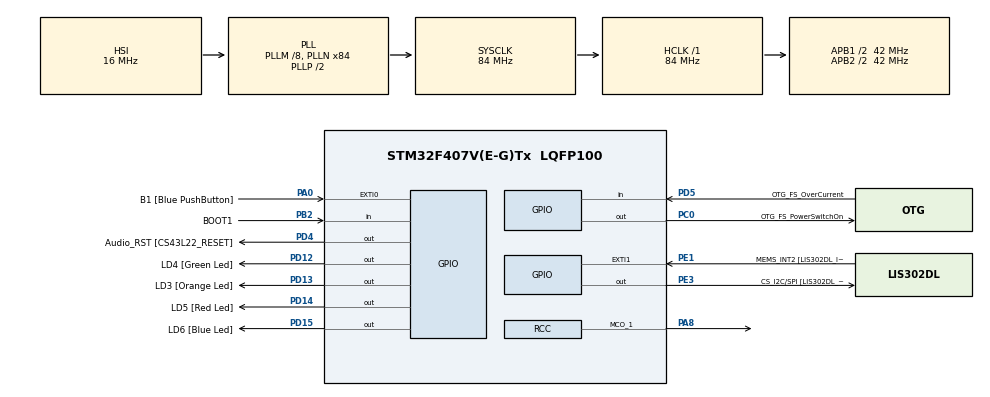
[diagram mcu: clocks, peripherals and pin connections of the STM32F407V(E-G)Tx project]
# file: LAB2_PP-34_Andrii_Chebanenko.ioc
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Mcu.Family=STM32F4
Mcu.Name=STM32F407V(E-G)Tx
Mcu.Package=LQFP100
NVIC.EXTI0_IRQn=true\:0\:0\:false\:false\:true\:true\:true\:true
NVIC.PriorityGroup=NVIC_PRIORITYGROUP_0
NVIC.TIM2_IRQn=true\:0\:0\:false\:false\:true\:true\:true\:true
PA0-WKUP.GPIO_Label=B1 [Blue PushButton]
PA0-WKUP.Signal=GPXTI0
PA10.GPIO_Label=OTG_FS_ID
PA10.GPIO_Mode=GPIO_MODE_AF_PP
PA10.GPIO_PuPd=GPIO_NOPULL
PA10.GPIO_Speed=GPIO_SPEED_FREQ_LOW
PA10.Signal=USB_OTG_FS_ID
PA11.GPIO_Label=OTG_FS_DM
PA11.GPIO_Mode=GPIO_MODE_AF_PP
PA11.GPIO_PuPd=GPIO_NOPULL
PA11.GPIO_Speed=GPIO_SPEED_FREQ_LOW
PA11.Signal=USB_OTG_FS_DM
PA12.GPIO_Label=OTG_FS_DP
PA12.GPIO_Mode=GPIO_MODE_AF_PP
PA12.GPIO_PuPd=GPIO_NOPULL
PA12.GPIO_Speed=GPIO_SPEED_FREQ_LOW
PA12.Signal=USB_OTG_FS_DP
PA13.GPIO_Label=SWDIO
PA13.Mode=Serial_Wire
PA13.Signal=SYS_JTMS-SWDIO
PA14.GPIO_Label=SWCLK
PA14.Mode=Serial_Wire
PA14.Signal=SYS_JTCK-SWCLK
PA4.GPIO_Label=I2S3_WS [CS43L22_LRCK]
PA4.GPIO_Mode=GPIO_MODE_AF_PP
PA4.GPIO_PuPd=GPIO_NOPULL
PA4.GPIO_Speed=GPIO_SPEED_FREQ_LOW
PA4.Signal=I2S3_WS
PA5.GPIO_Label=SPI1_SCK [LIS302DL_SCL/SPC]
PA5.GPIO_Mode=GPIO_MODE_AF_PP
PA5.GPIO_PuPd=GPIO_NOPULL
PA5.GPIO_Speed=GPIO_SPEED_FREQ_LOW
PA5.Signal=SPI1_SCK
PA6.GPIO_Label=SPI1_MISO [LIS302DL_SDO]
PA6.GPIO_Mode=GPIO_MODE_AF_PP
PA6.GPIO_PuPd=GPIO_NOPULL
PA6.GPIO_Speed=GPIO_SPEED_FREQ_LOW
PA6.Signal=SPI1_MISO
PA7.GPIO_Label=SPI1_MOSI [LIS302DL_SDA/SDI/SDO]
PA7.GPIO_Mode=GPIO_MODE_AF_PP
PA7.GPIO_PuPd=GPIO_NOPULL
PA7.GPIO_Speed=GPIO_SPEED_FREQ_LOW
PA7.Signal=SPI1_MOSI
PA8.Mode=Clock-out-1
PA8.Signal=RCC_MCO_1
PA9.GPIO_Label=VBUS_FS
PA9.GPIO_Mode=GPIO_MODE_INPUT
PA9.GPIO_PuPd=GPIO_NOPULL
PA9.Signal=USB_OTG_FS_VBUS
PB10.GPIO_Label=CLK_IN [MP45DT02_CLK]
PB10.GPIO_Mode=GPIO_MODE_AF_PP
PB10.GPIO_PuPd=GPIO_NOPULL
PB10.GPIO_Speed=GPIO_SPEED_FREQ_LOW
PB10.Signal=I2S2_CK
PB2.GPIO_Label=BOOT1
PB2.GPIO_Mode=GPIO_MODE_INPUT
PB2.GPIO_PuPd=GPIO_NOPULL
PB2.Signal=GPIO_Input
PB3.GPIO_Label=SWO
PB3.Signal=SYS_JTDO-SWO
PB6.GPIO_Label=Audio_SCL [CS43L22_SCL]
PB6.GPIO_Mode=GPIO_MODE_AF_OD
PB6.GPIO_PuPd=GPIO_NOPULL
PB6.GPIO_Speed=GPIO_SPEED_FREQ_LOW
PB6.Signal=I2C1_SCL
PB9.GPIO_Label=Audio_SDA [CS43L22_SDA]
PB9.GPIO_Mode=GPIO_MODE_AF_OD
PB9.GPIO_PuPd=GPIO_NOPULL
PB9.GPIO_Speed=GPIO_SPEED_FREQ_LOW
PB9.Signal=I2C1_SDA
PC0.GPIO_Label=OTG_FS_PowerSwitchOn
PC0.GPIO_PuPd=GPIO_NOPULL
PC0.GPIO_Speed=GPIO_SPEED_FREQ_LOW
PC0.PinState=GPIO_PIN_SET
PC0.Signal=GPIO_Output
PC10.GPIO_Label=I2S3_SCK [CS43L22_SCLK]
PC10.GPIO_Mode=GPIO_MODE_AF_PP
PC10.GPIO_PuPd=GPIO_NOPULL
PC10.GPIO_Speed=GPIO_SPEED_FREQ_LOW
PC10.Signal=I2S3_CK
PC12.GPIO_Label=I2S3_SD [CS43L22_SDIN]
PC12.GPIO_Mode=GPIO_MODE_AF_PP
PC12.GPIO_PuPd=GPIO_NOPULL
PC12.GPIO_Speed=GPIO_SPEED_FREQ_LOW
PC12.Signal=I2S3_SD
PC14-OSC32_IN.GPIO_Label=PC14-OSC32_IN
PC14-OSC32_IN.Signal=RCC_OSC32_IN
PC15-OSC32_OUT.GPIO_Label=PC15-OSC32_OUT
PC15-OSC32_OUT.Signal=RCC_OSC32_OUT
PC3.GPIO_Label=PDM_OUT [MP45DT02_DOUT]
PC3.GPIO_Mode=GPIO_MODE_AF_PP
PC3.GPIO_PuPd=GPIO_NOPULL
PC3.GPIO_Speed=GPIO_SPEED_FREQ_LOW
PC3.Signal=I2S2_SD
PC7.GPIO_Label=I2S3_MCK [CS43L22_MCLK]
PC7.GPIO_Mode=GPIO_MODE_AF_PP
PC7.GPIO_PuPd=GPIO_NOPULL
PC7.GPIO_Speed=GPIO_SPEED_FREQ_LOW
PC7.Signal=I2S3_MCK
PD12.GPIO_Label=LD4 [Green Led]
PD12.GPIO_PuPd=GPIO_NOPULL
PD12.GPIO_Speed=GPIO_SPEED_FREQ_LOW
PD12.Signal=GPIO_Output
PD13.GPIO_Label=LD3 [Orange Led]
PD13.GPIO_PuPd=GPIO_NOPULL
PD13.GPIO_Speed=GPIO_SPEED_FREQ_LOW
PD13.Signal=GPIO_Output
PD14.GPIO_Label=LD5 [Red Led]
PD14.GPIO_PuPd=GPIO_NOPULL
PD14.GPIO_Speed=GPIO_SPEED_FREQ_LOW
PD14.Signal=GPIO_Output
PD15.GPIO_Label=LD6 [Blue Led]
PD15.GPIO_PuPd=GPIO_NOPULL
PD15.GPIO_Speed=GPIO_SPEED_FREQ_LOW
PD15.Signal=GPIO_Output
PD4.GPIO_Label=Audio_RST [CS43L22_RESET]
PD4.GPIO_PuPd=GPIO_NOPULL
PD4.GPIO_Speed=GPIO_SPEED_FREQ_LOW
PD4.Signal=GPIO_Output
PD5.GPIO_Label=OTG_FS_OverCurrent
PD5.GPIO_Mode=GPIO_MODE_INPUT
PD5.GPIO_PuPd=GPIO_NOPULL
PD5.Signal=GPIO_Input
PE1.GPIO_Label=MEMS_INT2 [LIS302DL_INT2]
PE1.GPIO_ModeDefaultEXTI=GPIO_MODE_EVT_RISING
PE1.GPIO_PuPd=GPIO_NOPULL
PE1.Signal=GPXTI1
PE3.GPIO_Label=CS_I2C/SPI [LIS302DL_CS_I2C/SPI]
PE3.GPIO_PuPd=GPIO_NOPULL
PE3.GPIO_Speed=GPIO_SPEED_FREQ_LOW
PE3.Signal=GPIO_Output
PH0-OSC_IN.GPIO_Label=PH0-OSC_IN
PH0-OSC_IN.Signal=RCC_OSC_IN
PH1-OSC_OUT.GPIO_Label=PH1-OSC_OUT
PH1-OSC_OUT.Signal=RCC_OSC_OUT
ProjectManager.HeapSize=0x200
ProjectManager.StackSize=0x400
ProjectManager.TargetToolchain=STM32CubeIDE
RCC.48MHZClocksFreq_Value=24000000
RCC.AHBFreq_Value=84000000
RCC.APB1CLKDivider=RCC_HCLK_DIV2
RCC.APB1Freq_Value=42000000
RCC.APB1TimFreq_Value=84000000
RCC.APB2CLKDivider=RCC_HCLK_DIV2
RCC.APB2Freq_Value=42000000
RCC.APB2TimFreq_Value=84000000
RCC.CortexFreq_Value=84000000
RCC.HCLKFreq_Value=84000000
RCC.HSE_VALUE=8000000
RCC.HSI_VALUE=16000000
RCC.LSE_VALUE=32768
RCC.PLLM=8
RCC.PLLN=84
RCC.PLLQ=7
RCC.SYSCLKFreq_VALUE=84000000
RCC.SYSCLKSource=RCC_SYSCLKSOURCE_PLLCLK
RCC.VCOOutputFreq_Value=168000000
TIM2.Period=1250-1
TIM2.Prescaler=8400-1
VP_TIM2_VS_ClockSourceINT.Mode=Internal
board=STM32F407G-DISC1

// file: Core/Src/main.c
/* USER CODE BEGIN Header */
/**
  ******************************************************************************
  * @file           : main.c
  * @brief          : Main program body
  ******************************************************************************
  * @attention
  *
  * Copyright (c) 2024 STMicroelectronics.
  * All rights reserved.
  *
  * This software is licensed under terms that can be found in the LICENSE file
  * in the root directory of this software component.
  * If no LICENSE file comes with this software, it is provided AS-IS.
  *
  ******************************************************************************
  */
/* USER CODE END Header */
#include "main.h"

TIM_HandleTypeDef htim2;

/* USER CODE BEGIN PV */
uint8_t LedsFlashing = 0;
uint8_t TimCounter = 0;
/* USER CODE END PV */

void SystemClock_Config(void);
static void MX_GPIO_Init(void);
static void MX_TIM2_Init(void);
/* USER CODE BEGIN PFP */
void ToggleLeds(void);
void LedsFlash(void);
/* USER CODE END PFP */

int main(void)
{

  /* MCU Configuration--------------------------------------------------------*/

  /* Reset of all peripherals, Initializes the Flash interface and the Systick. */
  HAL_Init();

  /* Configure the system clock */
  SystemClock_Config();

  /* Initialize all configured peripherals */
  MX_GPIO_Init();
  MX_TIM2_Init();
  /* USER CODE BEGIN 2 */
  HAL_TIM_Base_Start_IT(&htim2);
  HAL_GPIO_WritePin(GPIOD, LD4_Pin|LD3_Pin|LD5_Pin|LD6_Pin, GPIO_PIN_RESET);

  /* USER CODE END 2 */

  /* Infinite loop */
  while (1)
  {

    /* USER CODE BEGIN 3 */
	 LedsFlash();
  }
  /* USER CODE END 3 */
}

void SystemClock_Config(void)
{
  RCC_OscInitTypeDef RCC_OscInitStruct = {0};
  RCC_ClkInitTypeDef RCC_ClkInitStruct = {0};

  /** Configure the main internal regulator output voltage
  */
  __HAL_RCC_PWR_CLK_ENABLE();
  __HAL_PWR_VOLTAGESCALING_CONFIG(PWR_REGULATOR_VOLTAGE_SCALE1);

  /** Initializes the RCC Oscillators according to the specified parameters
  * in the RCC_OscInitTypeDef structure.
  */
  RCC_OscInitStruct.OscillatorType = RCC_OSCILLATORTYPE_HSI;
  RCC_OscInitStruct.HSIState = RCC_HSI_ON;
  RCC_OscInitStruct.HSICalibrationValue = RCC_HSICALIBRATION_DEFAULT;
  RCC_OscInitStruct.PLL.PLLState = RCC_PLL_ON;
  RCC_OscInitStruct.PLL.PLLSource = RCC_PLLSOURCE_HSI;
  RCC_OscInitStruct.PLL.PLLM = 8;
  RCC_OscInitStruct.PLL.PLLN = 84;
  RCC_OscInitStruct.PLL.PLLP = RCC_PLLP_DIV2;
  RCC_OscInitStruct.PLL.PLLQ = 7;
  if (HAL_RCC_OscConfig(&RCC_OscInitStruct) != HAL_OK)
  {
    Error_Handler();
  }

  /** Initializes the CPU, AHB and APB buses clocks
  */
  RCC_ClkInitStruct.ClockType = RCC_CLOCKTYPE_HCLK|RCC_CLOCKTYPE_SYSCLK
                              |RCC_CLOCKTYPE_PCLK1|RCC_CLOCKTYPE_PCLK2;
  RCC_ClkInitStruct.SYSCLKSource = RCC_SYSCLKSOURCE_PLLCLK;
  RCC_ClkInitStruct.AHBCLKDivider = RCC_SYSCLK_DIV1;
  RCC_ClkInitStruct.APB1CLKDivider = RCC_HCLK_DIV2;
  RCC_ClkInitStruct.APB2CLKDivider = RCC_HCLK_DIV2;

  if (HAL_RCC_ClockConfig(&RCC_ClkInitStruct, FLASH_LATENCY_2) != HAL_OK)
  {
    Error_Handler();
  }
  HAL_RCC_MCOConfig(RCC_MCO1, RCC_MCO1SOURCE_HSI, RCC_MCODIV_1);
}

static void MX_TIM2_Init(void)
{

  TIM_ClockConfigTypeDef sClockSourceConfig = {0};
  TIM_MasterConfigTypeDef sMasterConfig = {0};

  htim2.Instance = TIM2;
  htim2.Init.Prescaler = 8400-1;
  htim2.Init.CounterMode = TIM_COUNTERMODE_UP;
  htim2.Init.Period = 1250-1;
  htim2.Init.ClockDivision = TIM_CLOCKDIVISION_DIV1;
  htim2.Init.AutoReloadPreload = TIM_AUTORELOAD_PRELOAD_DISABLE;
  if (HAL_TIM_Base_Init(&htim2) != HAL_OK)
  {
    Error_Handler();
  }
  sClockSourceConfig.ClockSource = TIM_CLOCKSOURCE_INTERNAL;
  if (HAL_TIM_ConfigClockSource(&htim2, &sClockSourceConfig) != HAL_OK)
  {
    Error_Handler();
  }
  sMasterConfig.MasterOutputTrigger = TIM_TRGO_RESET;
  sMasterConfig.MasterSlaveMode = TIM_MASTERSLAVEMODE_DISABLE;
  if (HAL_TIMEx_MasterConfigSynchronization(&htim2, &sMasterConfig) != HAL_OK)
  {
    Error_Handler();
  }

}

static void MX_GPIO_Init(void)
{
  GPIO_InitTypeDef GPIO_InitStruct = {0};

  /* GPIO Ports Clock Enable */
  __HAL_RCC_GPIOE_CLK_ENABLE();
  __HAL_RCC_GPIOC_CLK_ENABLE();
  __HAL_RCC_GPIOH_CLK_ENABLE();
  __HAL_RCC_GPIOA_CLK_ENABLE();
  __HAL_RCC_GPIOB_CLK_ENABLE();
  __HAL_RCC_GPIOD_CLK_ENABLE();

  /*Configure GPIO pin Output Level */
  HAL_GPIO_WritePin(CS_I2C_SPI_GPIO_Port, CS_I2C_SPI_Pin, GPIO_PIN_RESET);

  /*Configure GPIO pin Output Level */
  HAL_GPIO_WritePin(OTG_FS_PowerSwitchOn_GPIO_Port, OTG_FS_PowerSwitchOn_Pin, GPIO_PIN_SET);

  /*Configure GPIO pin Output Level */
  HAL_GPIO_WritePin(GPIOD, LD4_Pin|LD3_Pin|LD5_Pin|LD6_Pin
                          |Audio_RST_Pin, GPIO_PIN_RESET);

  /*Configure GPIO pin : CS_I2C_SPI_Pin */
  GPIO_InitStruct.Pin = CS_I2C_SPI_Pin;
  GPIO_InitStruct.Mode = GPIO_MODE_OUTPUT_PP;
  GPIO_InitStruct.Pull = GPIO_NOPULL;
  GPIO_InitStruct.Speed = GPIO_SPEED_FREQ_LOW;
  HAL_GPIO_Init(CS_I2C_SPI_GPIO_Port, &GPIO_InitStruct);

  /*Configure GPIO pin : OTG_FS_PowerSwitchOn_Pin */
  GPIO_InitStruct.Pin = OTG_FS_PowerSwitchOn_Pin;
  GPIO_InitStruct.Mode = GPIO_MODE_OUTPUT_PP;
  GPIO_InitStruct.Pull = GPIO_NOPULL;
  GPIO_InitStruct.Speed = GPIO_SPEED_FREQ_LOW;
  HAL_GPIO_Init(OTG_FS_PowerSwitchOn_GPIO_Port, &GPIO_InitStruct);

  /*Configure GPIO pin : PDM_OUT_Pin */
  GPIO_InitStruct.Pin = PDM_OUT_Pin;
  GPIO_InitStruct.Mode = GPIO_MODE_AF_PP;
  GPIO_InitStruct.Pull = GPIO_NOPULL;
  GPIO_InitStruct.Speed = GPIO_SPEED_FREQ_LOW;
  GPIO_InitStruct.Alternate = GPIO_AF5_SPI2;
  HAL_GPIO_Init(PDM_OUT_GPIO_Port, &GPIO_InitStruct);

  /*Configure GPIO pin : B1_Pin */
  GPIO_InitStruct.Pin = B1_Pin;
  GPIO_InitStruct.Mode = GPIO_MODE_IT_RISING;
  GPIO_InitStruct.Pull = GPIO_NOPULL;
  HAL_GPIO_Init(B1_GPIO_Port, &GPIO_InitStruct);

  /*Configure GPIO pin : I2S3_WS_Pin */
  GPIO_InitStruct.Pin = I2S3_WS_Pin;
  GPIO_InitStruct.Mode = GPIO_MODE_AF_PP;
  GPIO_InitStruct.Pull = GPIO_NOPULL;
  GPIO_InitStruct.Speed = GPIO_SPEED_FREQ_LOW;
  GPIO_InitStruct.Alternate = GPIO_AF6_SPI3;
  HAL_GPIO_Init(I2S3_WS_GPIO_Port, &GPIO_InitStruct);

  /*Configure GPIO pins : SPI1_SCK_Pin SPI1_MISO_Pin SPI1_MOSI_Pin */
  GPIO_InitStruct.Pin = SPI1_SCK_Pin|SPI1_MISO_Pin|SPI1_MOSI_Pin;
  GPIO_InitStruct.Mode = GPIO_MODE_AF_PP;
  GPIO_InitStruct.Pull = GPIO_NOPULL;
  GPIO_InitStruct.Speed = GPIO_SPEED_FREQ_LOW;
  GPIO_InitStruct.Alternate = GPIO_AF5_SPI1;
  HAL_GPIO_Init(GPIOA, &GPIO_InitStruct);

  /*Configure GPIO pin : BOOT1_Pin */
  GPIO_InitStruct.Pin = BOOT1_Pin;
  GPIO_InitStruct.Mode = GPIO_MODE_INPUT;
  GPIO_InitStruct.Pull = GPIO_NOPULL;
  HAL_GPIO_Init(BOOT1_GPIO_Port, &GPIO_InitStruct);

  /*Configure GPIO pin : CLK_IN_Pin */
  GPIO_InitStruct.Pin = CLK_IN_Pin;
  GPIO_InitStruct.Mode = GPIO_MODE_AF_PP;
  GPIO_InitStruct.Pull = GPIO_NOPULL;
  GPIO_InitStruct.Speed = GPIO_SPEED_FREQ_LOW;
  GPIO_InitStruct.Alternate = GPIO_AF5_SPI2;
  HAL_GPIO_Init(CLK_IN_GPIO_Port, &GPIO_InitStruct);

  /*Configure GPIO pins : LD4_Pin LD3_Pin LD5_Pin LD6_Pin
                           Audio_RST_Pin */
  GPIO_InitStruct.Pin = LD4_Pin|LD3_Pin|LD5_Pin|LD6_Pin
                          |Audio_RST_Pin;
  GPIO_InitStruct.Mode = GPIO_MODE_OUTPUT_PP;
  GPIO_InitStruct.Pull = GPIO_NOPULL;
  GPIO_InitStruct.Speed = GPIO_SPEED_FREQ_LOW;
  HAL_GPIO_Init(GPIOD, &GPIO_InitStruct);

  /*Configure GPIO pins : I2S3_MCK_Pin I2S3_SCK_Pin I2S3_SD_Pin */
  GPIO_InitStruct.Pin = I2S3_MCK_Pin|I2S3_SCK_Pin|I2S3_SD_Pin;
  GPIO_InitStruct.Mode = GPIO_MODE_AF_PP;
  GPIO_InitStruct.Pull = GPIO_NOPULL;
  GPIO_InitStruct.Speed = GPIO_SPEED_FREQ_LOW;
  GPIO_InitStruct.Alternate = GPIO_AF6_SPI3;
  HAL_GPIO_Init(GPIOC, &GPIO_InitStruct);

  /*Configure GPIO pin : PA8 */
  GPIO_InitStruct.Pin = GPIO_PIN_8;
  GPIO_InitStruct.Mode = GPIO_MODE_AF_PP;
  GPIO_InitStruct.Pull = GPIO_NOPULL;
  GPIO_InitStruct.Speed = GPIO_SPEED_FREQ_LOW;
  GPIO_InitStruct.Alternate = GPIO_AF0_MCO;
  HAL_GPIO_Init(GPIOA, &GPIO_InitStruct);

  /*Configure GPIO pin : VBUS_FS_Pin */
  GPIO_InitStruct.Pin = VBUS_FS_Pin;
  GPIO_InitStruct.Mode = GPIO_MODE_INPUT;
  GPIO_InitStruct.Pull = GPIO_NOPULL;
  HAL_GPIO_Init(VBUS_FS_GPIO_Port, &GPIO_InitStruct);

  /*Configure GPIO pins : OTG_FS_ID_Pin OTG_FS_DM_Pin OTG_FS_DP_Pin */
  GPIO_InitStruct.Pin = OTG_FS_ID_Pin|OTG_FS_DM_Pin|OTG_FS_DP_Pin;
  GPIO_InitStruct.Mode = GPIO_MODE_AF_PP;
  GPIO_InitStruct.Pull = GPIO_NOPULL;
  GPIO_InitStruct.Speed = GPIO_SPEED_FREQ_LOW;
  GPIO_InitStruct.Alternate = GPIO_AF10_OTG_FS;
  HAL_GPIO_Init(GPIOA, &GPIO_InitStruct);

  /*Configure GPIO pin : OTG_FS_OverCurrent_Pin */
  GPIO_InitStruct.Pin = OTG_FS_OverCurrent_Pin;
  GPIO_InitStruct.Mode = GPIO_MODE_INPUT;
  GPIO_InitStruct.Pull = GPIO_NOPULL;
  HAL_GPIO_Init(OTG_FS_OverCurrent_GPIO_Port, &GPIO_InitStruct);

  /*Configure GPIO pins : Audio_SCL_Pin Audio_SDA_Pin */
  GPIO_InitStruct.Pin = Audio_SCL_Pin|Audio_SDA_Pin;
  GPIO_InitStruct.Mode = GPIO_MODE_AF_OD;
  GPIO_InitStruct.Pull = GPIO_NOPULL;
  GPIO_InitStruct.Speed = GPIO_SPEED_FREQ_LOW;
  GPIO_InitStruct.Alternate = GPIO_AF4_I2C1;
  HAL_GPIO_Init(GPIOB, &GPIO_InitStruct);

  /*Configure GPIO pin : MEMS_INT2_Pin */
  GPIO_InitStruct.Pin = MEMS_INT2_Pin;
  GPIO_InitStruct.Mode = GPIO_MODE_EVT_RISING;
  GPIO_InitStruct.Pull = GPIO_NOPULL;
  HAL_GPIO_Init(MEMS_INT2_GPIO_Port, &GPIO_InitStruct);

  /* EXTI interrupt init*/
  HAL_NVIC_SetPriority(EXTI0_IRQn, 0, 0);
  HAL_NVIC_EnableIRQ(EXTI0_IRQn);

}

/* USER CODE BEGIN 4 */
void HAL_GPIO_EXTI_Callback(uint16_t GPIO_Pin)
{
  /* Prevent unused argument(s) compilation warning */
  UNUSED(GPIO_Pin);
  if (GPIO_Pin == B1_Pin)
  {
	  ToggleLeds();
	  //HAL_GPIO_WritePin(GPIOD, LD4_Pin|LD3_Pin|LD5_Pin|LD6_Pin, GPIO_PIN_SET);
  }
}

void ToggleLeds(void)
{
	if (LedsFlashing)
		LedsFlashing = 0;
	else
		LedsFlashing = 1;
}

void LedsFlash(void)
{
	while(LedsFlashing)
	{
		HAL_GPIO_WritePin(GPIOD, LD4_Pin, TimCounter & 0x1);
		HAL_GPIO_WritePin(GPIOD, LD3_Pin, (TimCounter & 0x2) >> 1);
		HAL_GPIO_WritePin(GPIOD, LD5_Pin, (TimCounter & 0x4) >> 2);
		HAL_GPIO_WritePin(GPIOD, LD6_Pin, (TimCounter & 0x8) >> 3);
	}
	HAL_GPIO_WritePin(GPIOD, LD4_Pin|LD3_Pin|LD5_Pin|LD6_Pin, GPIO_PIN_RESET);
}

void HAL_TIM_PeriodElapsedCallback(TIM_HandleTypeDef *htim) {
	if (htim->Instance == TIM2)
	{
		if (TimCounter != 16)
		{
			TimCounter++;
		}
		else
		{
			TimCounter = 0;
		}
	}
}

/* USER CODE END 4 */

void Error_Handler(void)
{
  __disable_irq();
  while (1)
  {
  }
}
